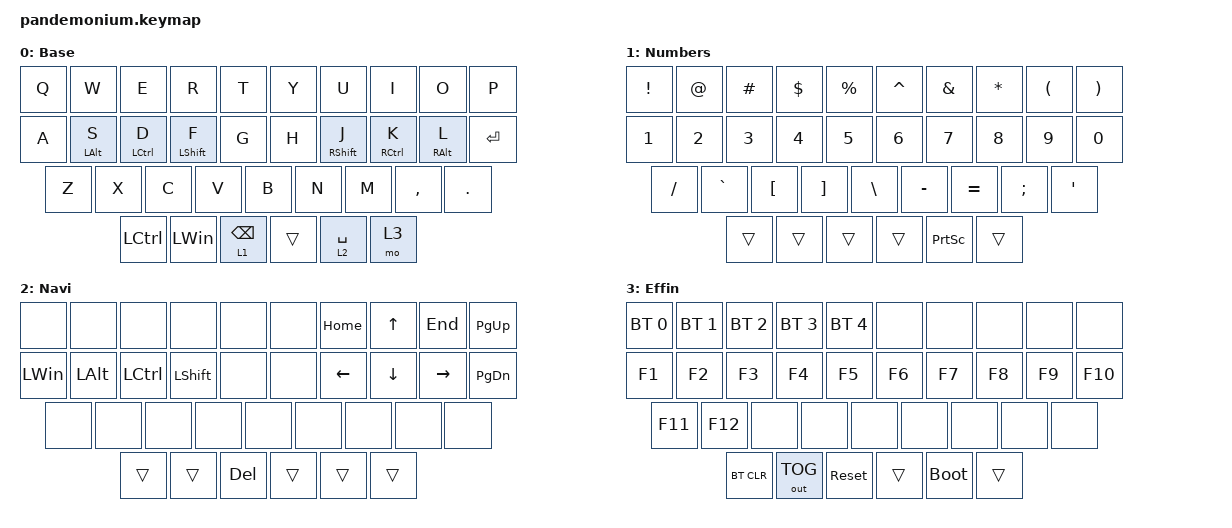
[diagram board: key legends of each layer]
/*
 * Copyright (c) 2022 The ZMK Contributors
 *
 * SPDX-License-Identifier: MIT
 */

#include <behaviors.dtsi>
#include <dt-bindings/zmk/keys.h>
#include <dt-bindings/zmk/bt.h>
#include <dt-bindings/zmk/outputs.h>

/ {
    behaviors {
        ht: hold_tap {
            compatible = "zmk,behavior-hold-tap";
            #binding-cells = <2>;
            flavor = "balanced";
            tapping-term-ms = <200>;
            quick-tap-ms = <220>;
            require-prior-idle-ms = <125>;
            bindings = <&kp>, <&kp>;
        };
        mt: mod_tap {

            #binding-cells = <2>;
	    flavor = "balanced";
            tapping-term-ms = <180>;
            quick-tap-ms = <100>;
            require-prior-idle-ms = <75>;
	    retro-tap;
            bindings = <&kp>, <&kp>;
        };
        combos {
            compatible = "zmk,combos";
            combo_esc {
                timeout-ms = <50>;
                key-positions = <0 1>;
		layers = <0>;
                bindings = <&kp ESC>;
            };
             combo_tab {
                 timeout-ms = <50>;
                 key-positions = <12 13>;
                 layers = <0>;
                 bindings = <&kp TAB>;
             };
             combo_caps {
                 timeout-ms = <50>;
                 key-positions = <13 16>;
                 layers = <0>;
                 bindings = <&kp CAPS>;
             };
             combo_backspaceword {
                 timeout-ms = <50>;
                 key-positions = <16 17>;
                 layers = <0>;
                 bindings = <&kp RC(BSPC)>;
             };
            combo_boot {
                timeout-ms = <50>;
                key-positions = <0 9 20 28>;
                layers = <0>;
                bindings = <&bootloader>;
            };
        };
    };

    keymap {
        compatible = "zmk,keymap";
        default_layer {
	    display-name= "Base";
            bindings = <
//╭───────────┬───────────┬───────────┬───────────┬───────────┬───────────┬───────────┬───────────┬───────────┬───────────╮
//│  Q        │  W        │  E        │  R        │  T        │  Y        │  U        │  I        │  O        │ P         │
     &kp Q       &kp W       &kp E       &kp R       &kp T       &kp Y       &kp U       &kp I       &kp O      &kp P
//├───────────┼───────────┼───────────┼───────────┼───────────┼───────────┼───────────┼───────────┼───────────┼───────────┤
//│  A        │  S        │  D        │  F        │  G        │  H        │  J        │  K        │  L        │ ENTER     │
     &kp A     &mt LALT S  &mt LCTRL D &mt LSHFT F   &kp G       &kp H     &mt RSHFT J &mt RCTRL K &mt RALT L   &kp RET
//╰────┬──────┴────┬──────┴────┬──────┴────┬──────┴────┬──────┴────┬──────┴────┬──────┴─────┬─────┴─────┬─────┴─────────┬─╯
//     │  Z        │  X        │  C        │  V        │  B        │  N        │  M         │ ,         │ .             │
          &kp Z       &kp X       &kp C       &kp V       &kp B       &kp N       &kp M       &kp COMMA   &kp DOT
//     ├───────────┼┬──────────┴┬──────────┴────────┬──┴───────────┼───────────┴────────────┼───────────┼─────╮         │
//     │ CTRL      │| LWIN      | Backspace/layer 1 |              | Space/layer 2          |           |     |         |
         &kp LCTRL    &kp LWIN    &lt 1 BSPC             &trans      &lt 2 SPACE              &mo 3
 //    ╰───────────╯╰───────────┴───────────────────╯              ╰────────────────────────┴───────────╯     ╰─────────╯
            >;
        };
		
        num_layer {
	    display-name = "Numbers";
            bindings = <
//╭───────────┬───────────┬───────────┬───────────┬───────────┬───────────┬───────────┬───────────┬───────────┬───────────╮
//│  !        │  @        │ #         │ $         │ %         │  ^        │  &        │ *         │ (         │ )         │
     &kp EXCL    &kp AT     &kp HASH    &kp DLLR    &kp PRCNT    &kp CARET   &kp AMPS   &kp STAR    &kp LPAR    &kp RPAR
//├───────────┼───────────┼───────────┼───────────┼───────────┼───────────┼───────────┼───────────┼───────────┼───────────┤
//│  1        │  2        │  3        │  4        │  5        │  6        │  7        │  8        │  9        │ 0         │
     &kp N1      &kp N2      &kp N3      &kp N4      &kp N5      &kp N6      &kp N7      &kp N8      &kp N9     &kp N0    
//╰────┬──────┴────┬──────┴────┬──────┴────┬──────┴────┬──────┴────┬──────┴────┬──────┴─────┬─────┴─────┬─────┴─────────┬─╯
//     │  ?/       │  `~       │  {[       │  ]}       │  |\       │  _-       │  +=        │ :;        │ "'            │
          &kp FSLH    &kp GRAVE   &kp LBKT    &kp RBKT    &kp BSLH    &kp MINUS   &kp EQUAL   &kp SEMI    &kp APOS
//     ├───────────┼┬──────────┴┬──────────┴────────┬──┴───────────┼───────────┴────────────┼───────────┼─────╮         │
//     │           │|           |                   |              | Print Screen           |           |     |         |
         &trans       &trans      &trans                 &trans      &kp PSCRN                &trans
 //    ╰───────────╯╰───────────┴───────────────────╯              ╰────────────────────────┴───────────╯     ╰─────────╯
            >;
        };
		
        nav_layer {
	    display-name = "Navi";
            bindings = <
//╭───────────┬───────────┬───────────┬───────────┬───────────┬───────────┬───────────┬───────────┬───────────┬───────────╮
//│           │           │           │           │           │           │ HOME      │ UP        │ END       │ PAGE UP   │
     &none      &none       &none       &none       &none       &none       &kp HOME    &kp UP      &kp END     &kp PG_UP
//├───────────┼───────────┼───────────┼───────────┼───────────┼───────────┼───────────┼───────────┼───────────┼───────────┤
//│  LWIN     │  LALT     │  LCTRL    │  LSHIFT   │           │           │ LEFT      │ DOWN      │ RIGHT     │ PAGE DOWN │
     &kp LWIN    &kp LALT    &kp LCTRL   &kp LSHFT   &none      &none       &kp LEFT    &kp DOWN    &kp RIGHT   &kp PG_DN
//╰────┬──────┴────┬──────┴────┬──────┴────┬──────┴────┬──────┴────┬──────┴────┬──────┴─────┬─────┴─────┬─────┴─────────┬─╯
//     │           │           │           │           │           │           │            │           │               │
          &none       &none       &none       &none       &none       &none       &none       &none       &none     
//     ├───────────┼┬──────────┴┬──────────┴────────┬──┴───────────┼───────────┴────────────┼───────────┼─────╮         │
//     │           │|           | DELETE            |              |                        |           |     |         |
         &trans       &trans      &kp DEL                &trans      &trans                   &trans
 //    ╰───────────╯╰───────────┴───────────────────╯              ╰────────────────────────┴───────────╯     ╰─────────╯
            >;
        };
		
        fn_layer {
	    display-name = "Effin";
            bindings = <
//╭─────────────┬─────────────┬─────────────┬─────────────┬─────────────┬───────────┬───────────┬───────────┬───────────┬───────────╮
//│             │             │             │             │             │           │           │           │           │           │
   &bt BT_SEL 0  &bt BT_SEL 1  &bt BT_SEL 2  &bt BT_SEL 3  &bt BT_SEL 4   &none       &none       &none       &none       &none
//├─────────────┼─────────────┼─────────────┼─────────────┼─────────────┼───────────┼───────────┼───────────┼───────────┼───────────┤
//│             │             │             │             │             │           │           │           │           │           │
     &kp F1       &kp F2        &kp F3        &kp F4        &kp F5        &kp F6      &kp F7      &kp F8      &kp F9      &kp F10
//╰─────┬───────┴────┬────────┴─────┬───────┴────┬────────┴────┬────────┴────┬──────┴────┬──────┴─────┬─────┴─────┬─────┴─────────┬─╯
//      │            │              │            │             │             │           │            │           │               │
          &kp F11      &kp F12        &none        &none         &none         &none       &none         &none       &none     
//      ├────────────┼┬─────────────┴┬───────────┴─────────┬───┴─────────────┼───────────┴────────────┼───────────┼─────╮         │
//      │            │|              |                     |                 |                        |           |     |         |
         &bt BT_CLR    &out OUT_TOG   &sys_reset              &trans            &bootloader              &trans
 //     ╰────────────╯╰──────────────┴─────────────────────╯                 ╰────────────────────────┴───────────╯     ╰─────────╯   
>;
        };
    };
};

